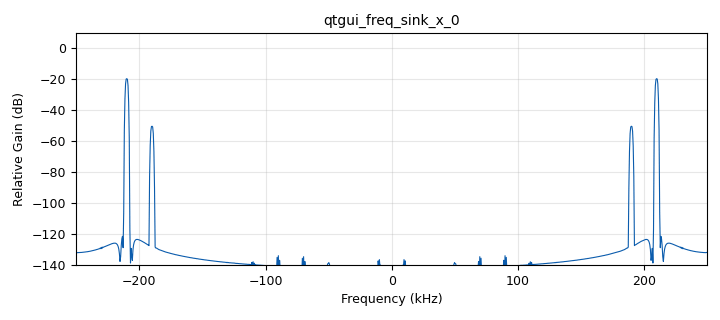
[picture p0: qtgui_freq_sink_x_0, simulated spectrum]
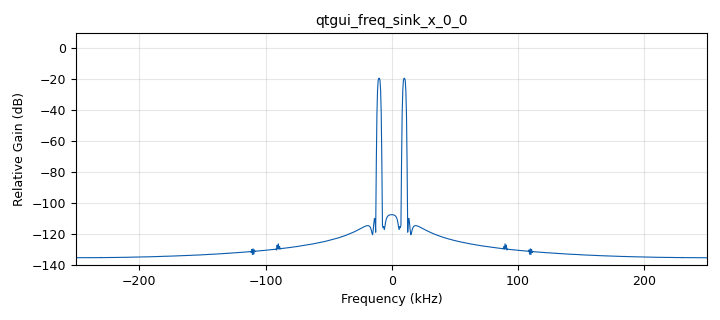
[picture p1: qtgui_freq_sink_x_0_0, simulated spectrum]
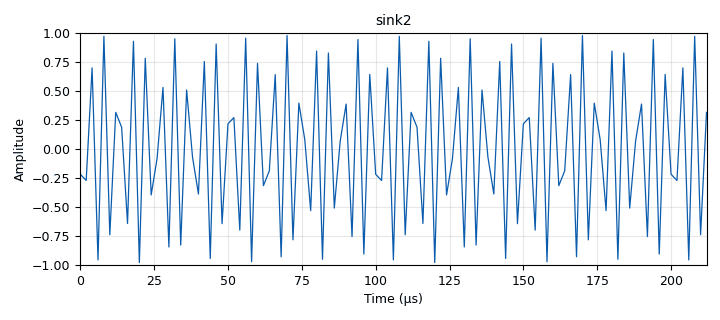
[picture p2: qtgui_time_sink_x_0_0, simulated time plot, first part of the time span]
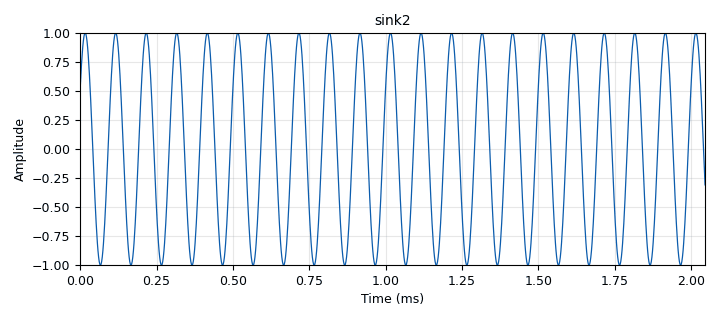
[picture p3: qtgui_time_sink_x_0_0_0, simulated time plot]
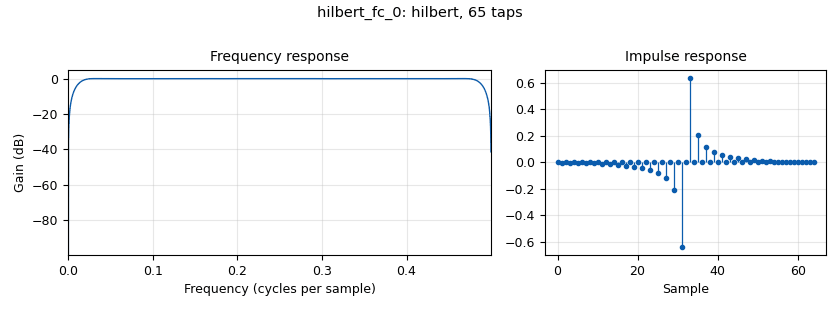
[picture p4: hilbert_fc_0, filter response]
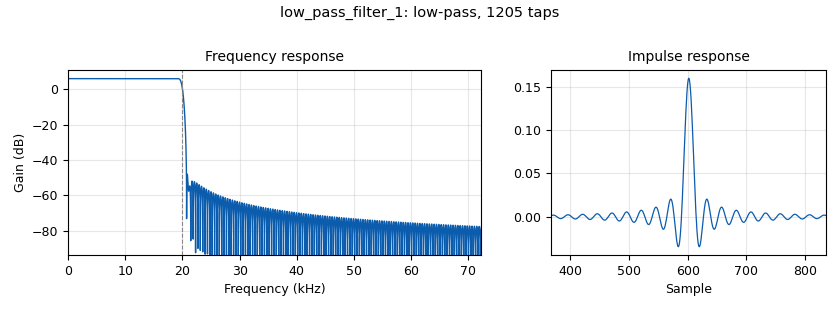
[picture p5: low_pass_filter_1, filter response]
options:
  parameters:
    generate_options: qt_gui
    id: untitled
    output_language: python
    title: Not titled yet
  states: {}

blocks:
- name: samp_rate
  id: variable
  parameters:
    value: '500000'
  states: {}
- name: analog_sig_source_x_0
  id: analog_sig_source_x
  parameters:
    amp: '1'
    freq: '10000'
    offset: '0'
    phase: '0'
    samp_rate: samp_rate
    type: float
    waveform: analog.GR_COS_WAVE
  states: {}
- name: analog_sig_source_x_0_0
  id: analog_sig_source_x
  parameters:
    amp: '1'
    freq: '200000'
    offset: '0'
    phase: '0'
    samp_rate: samp_rate
    type: float
    waveform: analog.GR_COS_WAVE
  states: {}
- name: analog_sig_source_x_0_0_0
  id: analog_sig_source_x
  parameters:
    amp: '1'
    freq: '200000'
    offset: '0'
    phase: '0'
    samp_rate: samp_rate
    type: float
    waveform: analog.GR_SIN_WAVE
  states: {}
- name: blocks_complex_to_imag_0
  id: blocks_complex_to_imag
  parameters: {}
  states: {}
- name: blocks_complex_to_real_0
  id: blocks_complex_to_real
  parameters: {}
  states: {}
- name: blocks_multiply_xx_0
  id: blocks_multiply_xx
  parameters:
    type: float
  states: {}
- name: blocks_multiply_xx_0_0
  id: blocks_multiply_xx
  parameters:
    type: float
  states: {}
- name: blocks_multiply_xx_0_1
  id: blocks_multiply_xx
  parameters:
    type: float
  states: {}
- name: blocks_sub_xx_0
  id: blocks_sub_xx
  parameters:
    type: float
  states: {}
- name: hilbert_fc_0
  id: hilbert_fc
  parameters:
    num_taps: '65'
  states: {}
- name: low_pass_filter_0
  id: low_pass_filter
  parameters:
    decim: '1'
    gain: '1'
    samp_rate: samp_rate
    type: fir_filter_ccf
    win: window.WIN_HAMMING
  states: {state: disabled}
- name: low_pass_filter_1
  id: low_pass_filter
  parameters:
    cutoff_freq: 20e3
    gain: '2'
    interp: '1'
    samp_rate: 500e3
    type: interp_fir_filter_fff
    width: 1e3
    win: window.WIN_HAMMING
  states: {}
- name: qtgui_freq_sink_x_0
  id: qtgui_freq_sink_x
  parameters:
    bw: samp_rate
    fc: '0'
    fftsize: '1024'
    gui_hint: tab@1
    type: float
    wintype: window.WIN_FLATTOP
  states: {}
- name: qtgui_freq_sink_x_0_0
  id: qtgui_freq_sink_x
  parameters:
    bw: samp_rate
    fc: '0'
    fftsize: '1024'
    gui_hint: tab@3
    type: float
    wintype: window.WIN_FLATTOP
  states: {}
- name: qtgui_time_sink_x_0_0
  id: qtgui_time_sink_x
  parameters:
    entags: 'False'
    gui_hint: tab@0
    name: sink2
    size: '1024'
    srate: samp_rate
    type: float
  states: {}
- name: qtgui_time_sink_x_0_0_0
  id: qtgui_time_sink_x
  parameters:
    entags: 'False'
    gui_hint: tab@2
    name: sink2
    size: '1024'
    srate: samp_rate
    type: float
  states: {}
- name: tab
  id: qtgui_tab_widget
  parameters:
    label0: Modulated
    label1: Modulated (freq)
    label2: Demodulated
    label3: Demodulated (freq)
    num_tabs: '4'
  states: {}

connections:
- [analog_sig_source_x_0, '0', hilbert_fc_0, '0']
- [analog_sig_source_x_0_0, '0', blocks_multiply_xx_0, '0']
- [analog_sig_source_x_0_0, '0', blocks_multiply_xx_0_1, '1']
- [analog_sig_source_x_0_0_0, '0', blocks_multiply_xx_0_0, '0']
- [blocks_complex_to_imag_0, '0', blocks_multiply_xx_0_0, '1']
- [blocks_complex_to_real_0, '0', blocks_multiply_xx_0, '1']
- [blocks_multiply_xx_0, '0', blocks_sub_xx_0, '0']
- [blocks_multiply_xx_0_0, '0', blocks_sub_xx_0, '1']
- [blocks_multiply_xx_0_1, '0', low_pass_filter_1, '0']
- [blocks_sub_xx_0, '0', blocks_multiply_xx_0_1, '0']
- [blocks_sub_xx_0, '0', qtgui_freq_sink_x_0, '0']
- [blocks_sub_xx_0, '0', qtgui_time_sink_x_0_0, '0']
- [hilbert_fc_0, '0', blocks_complex_to_imag_0, '0']
- [hilbert_fc_0, '0', blocks_complex_to_real_0, '0']
- [low_pass_filter_1, '0', qtgui_freq_sink_x_0_0, '0']
- [low_pass_filter_1, '0', qtgui_time_sink_x_0_0_0, '0']

metadata:
  file_format: 1
  grc_version: 3.10.7.0
